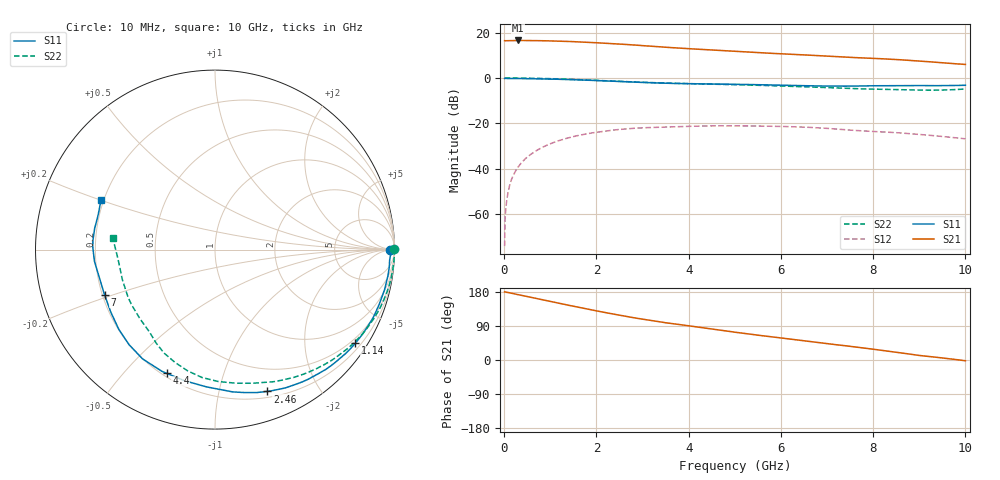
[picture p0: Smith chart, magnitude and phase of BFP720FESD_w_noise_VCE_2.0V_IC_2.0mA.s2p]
! Infineon Technologies  Discrete & RF Semiconductors
! BFP720FESD
! VCE =  2.0 V,  IC =  2.0 mA
! Common Emitter S-Parameters:  Jan 2016
# GHz  S  MA  R  50
!  f  S11  S21  S12  S22
! GHz  MAG  ANG  MAG  ANG  MAG  ANG  MAG  ANG
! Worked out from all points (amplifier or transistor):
!   233 points, 10 MHz to 10 GHz, reference 50 ohm
!   highest |S21| = 16.5 dB at 300 MHz (marker M1)
!   |S21| within 3 dB of that: start of sweep to 3.517 GHz
!   unconditionally stable (mu >= 1): 8.678 GHz to end of sweep
!   at 200 MHz: K = 0.00, MSG = 29.6 dB, |S12| = -42.7 dB
!   at 1.74 GHz: K = 0.11, MSG = 20.3 dB, |S12| = -24.7 dB
!   at 10 GHz: K = 1.57, MAG = 11.9 dB, |S12| = -26.7 dB
!   lowest NFmin = 0.41 dB at 450 MHz
!   S11 on the Smith chart (normalised r, x): 10 MHz: 75, -5; 1.14 GHz: 0.36, -3.26; 2.46 GHz: 0.26, -1.40; 4.4 GHz: 0.22, -0.66; 7 GHz: 0.21, -0.19; 10 GHz: 0.19, +0.20
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0.01  0.9738 -0.1  6.621 179.7  0.0002 162.8  0.9957 0.2
0.02  0.9791 -0.7  6.595 179.8  0.0008 81.7  0.9994 -0.4
0.025  0.9792 -0.8  6.596 179.6  0.001 84.6  0.9994 -0.5
0.08  0.9768 -2.4  6.636 178.2  0.0029 88.4  0.9992 -1.8
0.16  0.975 -4.8  6.682 176.2  0.0059 86.8  0.9988 -3.6
0.3  0.9741 -9.0  6.694 172.6  0.0109 83.8  0.9966 -6.8
0.7  0.9617 -20.8  6.65 162.3  0.0253 75.0  0.9832 -15.8
1.14  0.94 -33.7  6.488 151.1  0.0404 65.2  0.9578 -25.9
1.4  0.9226 -41.4  6.372 144.3  0.0485 59.2  0.9385 -32.0
1.68  0.9026 -49.3  6.204 137.3  0.0564 53.0  0.9153 -38.4
2.08  0.8728 -59.8  5.899 127.8  0.0657 44.7  0.8812 -47.1
2.46  0.8423 -69.7  5.623 119.2  0.0732 37.3  0.8485 -55.3
2.96  0.8015 -81.9  5.202 108.4  0.0799 28.0  0.8074 -65.4
3.4  0.7708 -91.3  4.825 100.3  0.083 21.4  0.7788 -72.6
4.4  0.74 -111.4  4.192 83.5  0.0882 8.6  0.7381 -87.0
5.1  0.7259 -125.2  3.812 71.9  0.0888 -0.3  0.7109 -97.1
6  0.6963 -140.3  3.413 58.2  0.0862 -10.7  0.6672 -109.4
6.8  0.6678 -154.3  3.103 46.2  0.0801 -19.3  0.6249 -119.9
7  0.6649 -157.8  3.03 43.0  0.078 -21.5  0.6148 -122.3
8.4  0.6808 179.0  2.583 22.0  0.0636 -28.5  0.5573 -146.6
9  0.6808 169.9  2.368 12.0  0.0575 -31.7  0.5427 -161.9
10  0.692 156.7  1.987 -2.0  0.046 -32.2  0.5726 173.7
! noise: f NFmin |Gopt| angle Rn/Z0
0.45  0.41  0.8  5  0.26
2.4  0.72  0.53  35  0.25
5.5  0.93  0.54  105  0.15
10  1.76  0.44  -167  0.09
